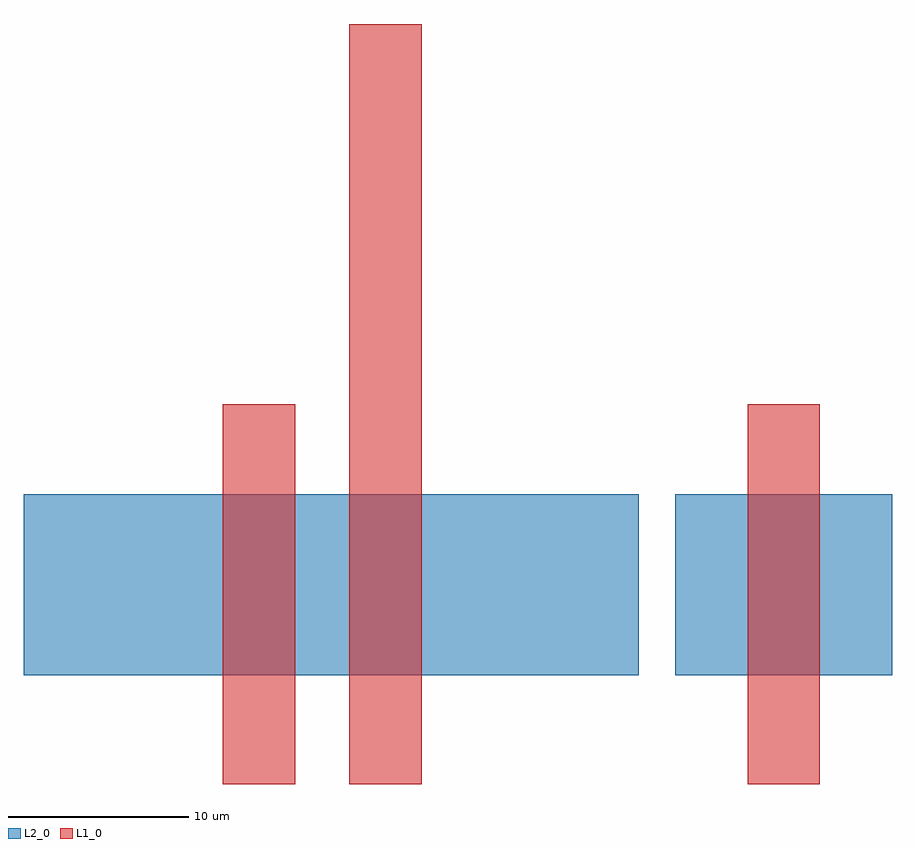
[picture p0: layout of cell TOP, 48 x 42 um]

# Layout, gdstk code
import gdstk
lib = gdstk.Library(unit=1e-6, precision=1e-09)
def R(c, l, rs):  # rectangles x0, y0, x1, y1
    for r in rs: c.add(gdstk.rectangle(r[:2], r[2:], *l))
L1_0 = (1, 0)
L2_0 = (2, 0)

sub = lib.new_cell('SUB')
R(sub, L1_0, [(0,-6,4,15)])

child = lib.new_cell('CHILD')
R(child, L2_0, [(-11,0,16,10)])
child.add(gdstk.Reference(sub, (0,0)))

top = lib.new_cell('TOP')
R(top, L1_0, [(7,1,11,36)])
R(top, L2_0, [(25,0,37,10)])
top.add(gdstk.Reference(child, (0,0)))
top.add(gdstk.Reference(child, (7,0)))
top.add(gdstk.Reference(sub, (29,0)))

lib.write_gds('TOP.gds')
